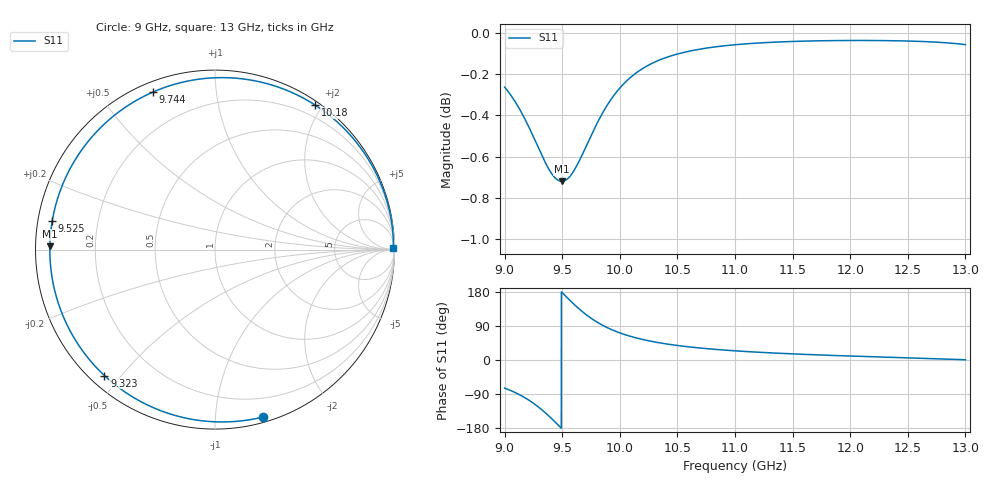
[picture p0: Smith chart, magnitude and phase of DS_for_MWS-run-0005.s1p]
! TOUCHSTONE file generated by CST DESIGN STUDIO
! Date and time: Tue Feb  4 14:31:31 2025
! Project name: C:\Work\MatlabApps\UnitCellOptimizationMatlab\CST\unitcell.cst
! Tree item: Tasks\Sweep1\SPara1\S-Parameters
! Header version: 2024
! Port assignment regex: !\s*Touchstone port\s*([0-9]+)\s*=\s*(CST MWS port|CST DES external port|CST DES block port)\s*(.+)\s* \(\"(.*)\"\)(\s*mode\s*([0-9]+))?.*
! Touchstone port assignment:
! Touchstone port 1 = CST DES external port 1 ("")
# GHz S MA R 50
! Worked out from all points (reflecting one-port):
!   4001 points, 9 GHz to 13 GHz, reference 50 ohm
!   lowest |S11| = -0.7 dB at 9.496 GHz (marker M1), VSWR 24.12, Z = 2.07 + j0.518 ohm
!   phase of S11 starts at -74 deg and turns -285 deg over the sweep
!   S11 on the Smith chart (normalised r, x): 9 GHz: 0.04, -1.32; 9.323 GHz: 0.04, -0.45; 9.525 GHz: 0.04, +0.09; 9.744 GHz: 0.04, +0.68; 10.18 GHz: 0.05, +1.91; 13 GHz: open
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9  0.9702 -74.2
9.085  0.963 -85.0
9.186  0.9519 -101.3
9.257  0.9427 -115.6
9.323  0.9339 -131.3
9.369  0.9283 -143.5
9.417  0.9236 -157.2
9.457  0.9212 -169.2
9.496  0.9204 178.8
9.5  0.9204 177.6
9.525  0.9208 169.9
9.578  0.9238 154.0
9.638  0.9298 137.2
9.69  0.9363 123.9
9.744  0.9434 111.6
9.796  0.95 101.2
9.853  0.9565 91.3
10  0.9697 71.6
10.086  0.9751 63.0
10.181  0.9797 55.3
10.327  0.9846 46.2
10.5  0.9883 38.3
10.722  0.9913 30.9
11  0.9935 24.2
11.5  0.9953 16.1
12  0.9959 10.5
12.5  0.9956 5.7
13  0.9936 0.6
